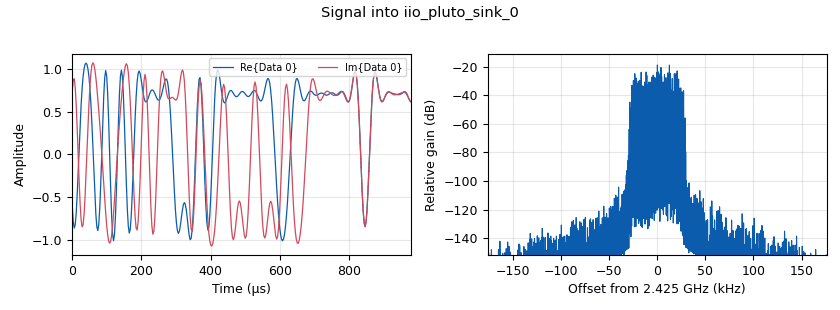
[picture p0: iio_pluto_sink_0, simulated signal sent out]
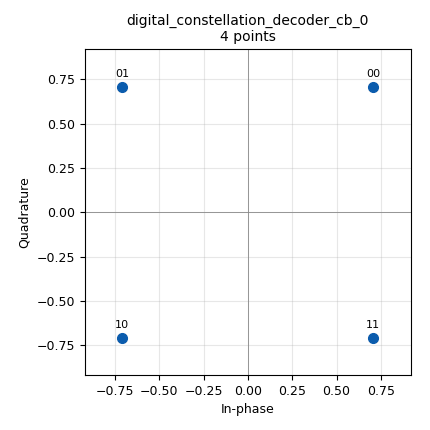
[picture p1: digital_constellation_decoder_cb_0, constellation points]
options:
  parameters:
    generate_options: qt_gui
    id: Pluto
    output_language: python
    title: Pluto
  states: {}

blocks:
- name: CRC_size
  id: variable
  parameters:
    value: '8'
  states: {}
- name: LO_freq
  id: variable
  parameters:
    value: 2.425e9
  states: {}
- name: QPSK
  id: variable_constellation_rect
  parameters:
    const_points: '[0.707+0.707j, -0.707+0.707j, -0.707-0.707j, 0.707-0.707j]'
    imag_sect: '2'
    real_sect: '2'
    rot_sym: '4'
    sym_map: '[0,1,2,3]'
    w_imag_sect: '1'
    w_real_sect: '1'
  states: {}
- name: access_key
  id: variable
  parameters:
    comment: Training til frame-sync
    value: '''11100001'''
  states: {}
- name: datarate
  id: variable
  parameters:
    value: 44e3
  states: {}
- name: excess_BW
  id: variable
  parameters:
    value: '0.35'
  states: {}
- name: hdr_format
  id: variable
  parameters:
    comment: header_format_default
    value: digital.header_format_default(access_key, 0)
  states: {}
- name: samp_rate
  id: variable
  parameters:
    comment: samplingsrate = sps * datarate
    value: int(sps*datarate)
  states: {}
- name: sps
  id: variable
  parameters:
    value: '8'
  states: {}
- name: thresh
  id: variable
  parameters:
    value: '0'
  states: {}
- name: blocks_message_debug_0
  id: blocks_message_debug
  parameters: {}
  states: {}
- name: blocks_message_strobe_0
  id: blocks_message_strobe
  parameters:
    comment: '"FadingDip" i ASCII-Kode'
    msg: "pmt.cons(pmt.PMT_NIL, pmt.init_u8vector(9, (70, 97, 100, 105, 110, 103, 68, 105, 112)))\r"
    period: '100'
  states: {}
- name: blocks_repack_bits_bb_1_0_0
  id: blocks_repack_bits_bb
  parameters:
    comment: MSB
    endianness: gr.GR_MSB_FIRST
    k: '1'
    l: '8'
    len_tag_key: '"packet_len"'
  states: {}
- name: blocks_tagged_stream_mux_0
  id: blocks_tagged_stream_mux
  parameters:
    lengthtagname: packet_len
    ninputs: '2'
    type: byte
  states: {}
- name: blocks_uchar_to_float_0_0_0
  id: blocks_uchar_to_float
  parameters: {}
  states: {}
- name: blocks_unpack_k_bits_bb_0
  id: blocks_unpack_k_bits_bb
  parameters:
    comment: 2 bits per symbol
    k: '2'
  states: {}
- name: digital_constellation_decoder_cb_0
  id: digital_constellation_decoder_cb
  parameters:
    constellation: QPSK
  states: {}
- name: digital_constellation_modulator_0
  id: digital_constellation_modulator
  parameters:
    comment: |-
      2 bits / symbol
      8 samples / symbol
    constellation: QPSK
    differential: 'True'
    excess_bw: excess_BW
    samples_per_symbol: sps
  states: {}
- name: digital_correlate_access_code_xx_ts_0
  id: digital_correlate_access_code_xx_ts
  parameters:
    access_code: access_key
    comment: Preamble/Header Detector + Frame Sync
    tagname: packet_len
    threshold: thresh
    type: byte
  states: {}
- name: digital_costas_loop_cc_0
  id: digital_costas_loop_cc
  parameters:
    comment: FFC + Fase
    order: '4'
    w: 2*pi/100
  states: {}
- name: digital_crc_append_0
  id: digital_crc_append
  parameters:
    num_bits: CRC_size
    poly: '0x4C11DB7'
  states: {}
- name: digital_crc_check_0
  id: digital_crc_check
  parameters:
    comment: Discard CRC = True
    discard_crc: 'True'
    num_bits: CRC_size
    poly: '0x4C11DB7'
  states: {}
- name: digital_diff_decoder_bb_0
  id: digital_diff_decoder_bb
  parameters:
    coding: digital.DIFF_DIFFERENTIAL
    comment: Fjerner Fasetvetydighet
    modulus: '4'
  states: {}
- name: digital_fll_band_edge_cc_0
  id: digital_fll_band_edge_cc
  parameters:
    comment: CFC
    filter_size: '60'
    rolloff: excess_BW
    samps_per_sym: sps
    type: cc
    w: 2*pi/100
  states: {}
- name: digital_protocol_formatter_async_0
  id: digital_protocol_formatter_async
  parameters:
    format: hdr_format
  states: {}
- name: digital_symbol_sync_xx_0
  id: digital_symbol_sync_xx
  parameters:
    damping: '1.0'
    loop_bw: '0.045'
    max_dev: '1.5'
    osps: '1'
    resamp_type: digital.IR_MMSE_8TAP
    sps: sps
    ted_gain: '1.0'
    ted_type: digital.TED_GARDNER
    type: cc
  states: {state: disabled}
- name: digital_symbol_sync_xx_1
  id: digital_symbol_sync_xx
  parameters:
    damping: '0.7071'
    loop_bw: 2*pi/100
    max_dev: '1.5'
    osps: '1'
    resamp_type: digital.IR_MMSE_8TAP
    sps: sps
    ted_gain: '1'
    ted_type: digital.TED_GARDNER
    type: cc
  states: {}
- name: iio_pluto_sink_0
  id: iio_pluto_sink
  parameters:
    attenuation1: '0'
    bandwidth: '20000000'
    buffer_size: int(2**12)
    cyclic: 'False'
    filter_source: '''Auto'''
    frequency: int(LO_freq)
    samplerate: samp_rate
    type: fc32
    uri: ip:192.168.2.1
  states: {}
- name: iio_pluto_source_0
  id: iio_pluto_source
  parameters:
    bandwidth: '20000000'
    bbdc: 'True'
    buffer_size: int(2**12)
    filter_source: '''Auto'''
    frequency: int(LO_freq)
    gain1: '''slow_attack'''
    quadrature: 'True'
    rfdc: 'True'
    samplerate: samp_rate
    type: fc32
    uri: ip:192.168.2.1
  states: {}
- name: import_0
  id: import
  parameters:
    imports: from math import pi
  states: {}
- name: pdu_pdu_to_tagged_stream_0
  id: pdu_pdu_to_tagged_stream
  parameters:
    comment: Header
    tag: packet_len
    type: byte
  states: {}
- name: pdu_pdu_to_tagged_stream_0_0
  id: pdu_pdu_to_tagged_stream
  parameters:
    comment: Payload
    tag: packet_len
    type: byte
  states: {}
- name: pdu_tagged_stream_to_pdu_0_0
  id: pdu_tagged_stream_to_pdu
  parameters:
    tag: packet_len
    type: byte
  states: {}
- name: qtgui_freq_sink_x_0
  id: qtgui_freq_sink_x
  parameters:
    alpha2: '1'
    average: '0.05'
    bw: samp_rate
    color1: '"red"'
    color2: '"blue"'
    fc: '0'
    fftsize: '4096'
    label1: Før CFC
    label2: Etter CFC
    nconnections: '2'
    type: complex
  states: {}
- name: qtgui_time_sink_x_0_0
  id: qtgui_time_sink_x
  parameters:
    comment: 1,2,1,2
    gui_hint: 1,2,1,2
    label1: ''
    name: Correlate Output
    size: '256'
    srate: samp_rate
    tr_delay: '0.0'
    tr_level: '0.1'
    tr_mode: qtgui.TRIG_MODE_TAG
    tr_tag: '"packet_len"'
    type: float
    ymax: '1.1'
    ymin: '-0.1'
  states: {}
- name: virtual_sink_0_2
  id: virtual_sink
  parameters:
    stream_id: Pakke
  states: {}
- name: virtual_source_1
  id: virtual_source
  parameters:
    stream_id: Pakke
  states: {}

connections:
- [blocks_message_strobe_0, strobe, digital_crc_append_0, in]
- [blocks_repack_bits_bb_1_0_0, '0', pdu_tagged_stream_to_pdu_0_0, '0']
- [blocks_tagged_stream_mux_0, '0', virtual_sink_0_2, '0']
- [blocks_uchar_to_float_0_0_0, '0', qtgui_time_sink_x_0_0, '0']
- [blocks_unpack_k_bits_bb_0, '0', digital_correlate_access_code_xx_ts_0, '0']
- [digital_constellation_decoder_cb_0, '0', digital_diff_decoder_bb_0, '0']
- [digital_constellation_modulator_0, '0', iio_pluto_sink_0, '0']
- [digital_correlate_access_code_xx_ts_0, '0', blocks_repack_bits_bb_1_0_0, '0']
- [digital_correlate_access_code_xx_ts_0, '0', blocks_uchar_to_float_0_0_0, '0']
- [digital_costas_loop_cc_0, '0', digital_constellation_decoder_cb_0, '0']
- [digital_crc_append_0, out, digital_protocol_formatter_async_0, in]
- [digital_crc_check_0, ok, blocks_message_debug_0, log]
- [digital_diff_decoder_bb_0, '0', blocks_unpack_k_bits_bb_0, '0']
- [digital_fll_band_edge_cc_0, '0', digital_symbol_sync_xx_1, '0']
- [digital_fll_band_edge_cc_0, '0', qtgui_freq_sink_x_0, '1']
- [digital_protocol_formatter_async_0, header, pdu_pdu_to_tagged_stream_0, pdus]
- [digital_protocol_formatter_async_0, payload, pdu_pdu_to_tagged_stream_0_0, pdus]
- [digital_symbol_sync_xx_1, '0', digital_costas_loop_cc_0, '0']
- [iio_pluto_source_0, '0', digital_fll_band_edge_cc_0, '0']
- [iio_pluto_source_0, '0', qtgui_freq_sink_x_0, '0']
- [pdu_pdu_to_tagged_stream_0, '0', blocks_tagged_stream_mux_0, '0']
- [pdu_pdu_to_tagged_stream_0_0, '0', blocks_tagged_stream_mux_0, '1']
- [pdu_tagged_stream_to_pdu_0_0, pdus, digital_crc_check_0, in]
- [virtual_source_1, '0', digital_constellation_modulator_0, '0']

metadata:
  file_format: 1
  grc_version: 3.10.9.2
